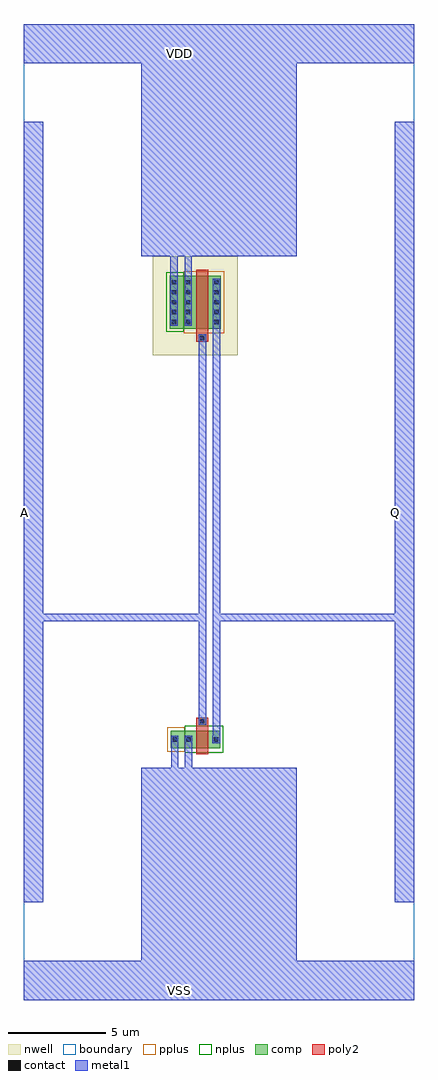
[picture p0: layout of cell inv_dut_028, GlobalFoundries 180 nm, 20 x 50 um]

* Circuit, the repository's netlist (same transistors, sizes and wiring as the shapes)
* inv_dut_028: pfet_03v3 W=2.70u L=0.60u / nfet_03v3 W=0.90u L=0.60u
.SUBCKT inv_dut_028 A Q VDD VSS
MMP Q A VDD VDD pfet_03v3 W=2.70u L=0.60u
MMN Q A VSS VSS nfet_03v3 W=0.90u L=0.60u
.ENDS

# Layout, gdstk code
import gdstk
lib = gdstk.Library(unit=1e-6, precision=1e-09)
def R(c, l, rs):  # rectangles x0, y0, x1, y1
    for r in rs: c.add(gdstk.rectangle(r[:2], r[2:], *l))
def A(c, l, x, y, w, h, nx, ny, dx, dy):  # array of equal rectangles
    R(c, l, [(x+i*dx, y+j*dy, x+i*dx+w, y+j*dy+h) for i in range(nx) for j in range(ny)])
boundary = (0, 0)
nwell = (21, 0)
comp = (22, 0)
poly2 = (30, 0)
pplus = (31, 0)
nplus = (32, 0)
contact = (33, 0)
metal1 = (34, 0)

inv_dut_028 = lib.new_cell('inv_dut_028')
R(inv_dut_028, boundary, [(-10,-25,10,25)])
R(inv_dut_028, nwell, [(-3.395,8.03,0.955,13.09)])
R(inv_dut_028, comp, [(-2.475,-12.1,0.055,-11.2), (-2.535,9.4,0.095,12.1)])
R(inv_dut_028, poly2, [(-1.155,-12.4,-0.555,-10.54), (-1.155,8.72,-0.555,12.4)])
R(inv_dut_028, pplus, [(-2.645,-12.27,-1.765,-11.03), (-1.805,9.16,0.265,12.34)])
R(inv_dut_028, nplus, [(-1.765,-12.34,0.225,-10.96), (-2.705,9.23,-1.805,12.27)])
A(inv_dut_028, contact, -2.415, 9.62, 0.22, 0.22, 1, 5, 0, 0.51)
A(inv_dut_028, contact, -1.685, 9.62, 0.22, 0.22, 1, 5, 0, 0.51)
A(inv_dut_028, contact, -0.245, 9.62, 0.22, 0.22, 1, 5, 0, 0.51)
R(inv_dut_028, contact, [(-2.375,-11.76,-2.155,-11.54), (-1.665,-11.76,-1.445,-11.54), (-0.265,-11.76,-0.045,-11.54), (-0.965,-10.83,-0.745,-10.61), (-0.965,8.8,-0.745,9.02)])
R(inv_dut_028, metal1, [(-10,-25,10,-23), (-3.995,-23,3.995,-13.4), (-10,-20,-9,20), (9,-20,10,20), (-3.995,-13.7,3.995,-13.1), (-2.455,-13.7,-2.075,-11.46), (-1.745,-13.7,-1.365,-11.46), (-2.455,-11.84,-2.075,-11.46), (-1.745,-11.84,-1.365,-11.46), (-0.345,-11.84,0.055,-11.46), (-0.345,-11.84,0.035,-11.46), (-0.325,-11.84,0.055,9.92), (-1.045,-10.91,-0.665,9.1), (-1.045,-10.91,-0.665,-10.53), (-9,-5.6,-3.695,-5.2), (-3.995,-5.6,-0.665,-5.2), (-0.325,-5.6,3.995,-5.2), (3.695,-5.6,9,-5.2), (-1.045,8.72,-0.665,9.1), (-2.495,9.54,-2.115,13.7), (-2.495,9.54,-2.115,11.96), (-1.765,9.54,-1.385,13.7), (-1.765,9.54,-1.385,11.96), (-0.325,9.54,0.055,9.92), (-0.325,9.54,0.055,11.96), (-3.995,13.1,3.995,13.7), (-3.995,13.4,3.995,23), (-10,23,10,25)])
inv_dut_028.add(gdstk.Label('VDD', (-2,23.5), layer=34, texttype=10))
inv_dut_028.add(gdstk.Label('VSS', (-2,-24.5), layer=34, texttype=10))
inv_dut_028.add(gdstk.Label('A', (-9.97,0), layer=34, texttype=10))
inv_dut_028.add(gdstk.Label('Q', (9.03,0), layer=34, texttype=10))

lib.write_gds('inv_dut_028.gds')
